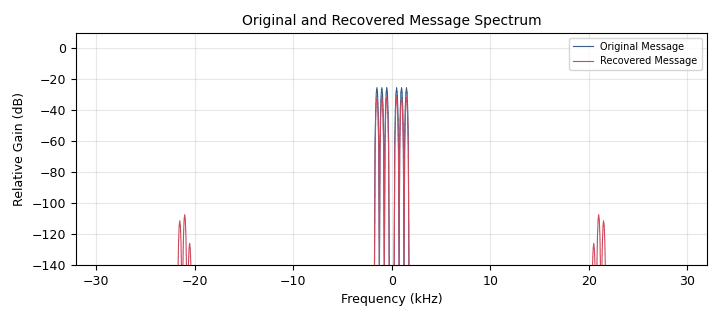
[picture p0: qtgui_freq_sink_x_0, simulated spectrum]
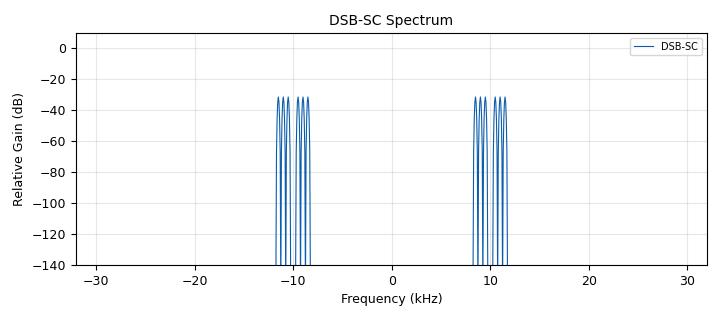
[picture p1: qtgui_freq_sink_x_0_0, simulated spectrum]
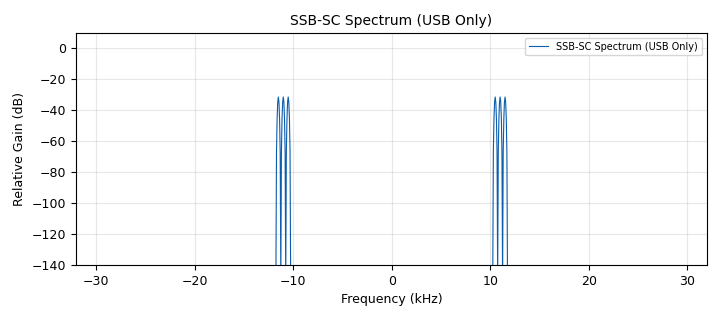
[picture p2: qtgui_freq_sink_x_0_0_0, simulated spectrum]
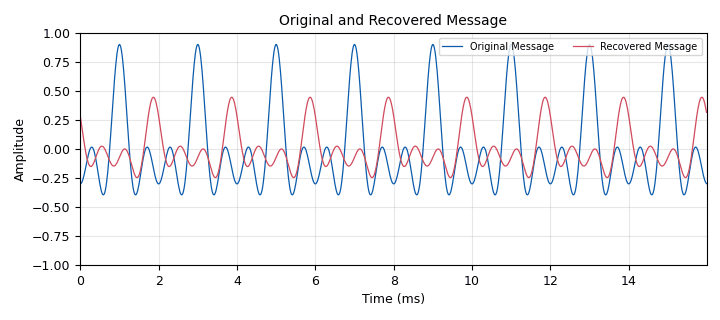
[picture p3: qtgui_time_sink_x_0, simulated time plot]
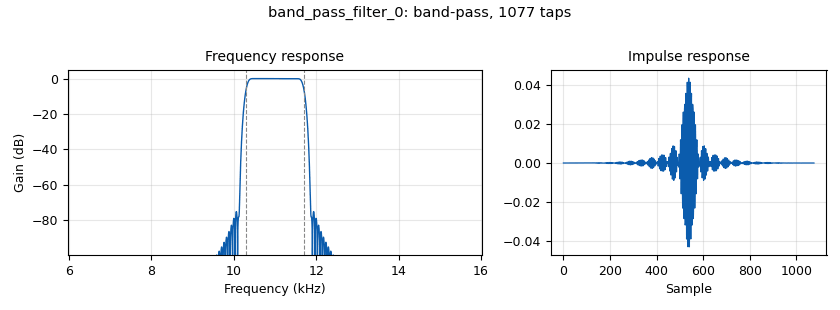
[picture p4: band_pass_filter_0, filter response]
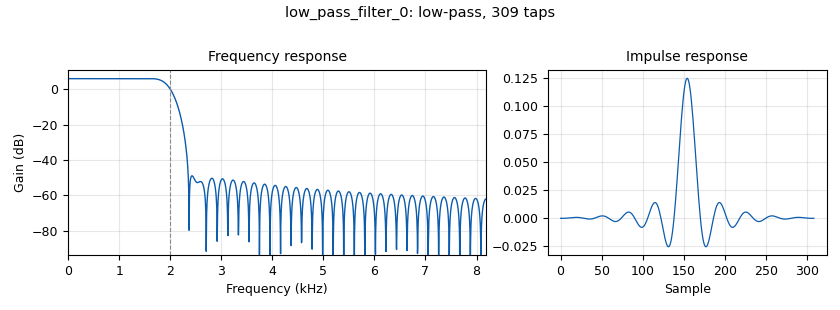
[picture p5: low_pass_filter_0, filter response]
options:
  parameters:
    author: Dhrubjun
    generate_options: qt_gui
    id: exp5
    output_language: python
    title: From DSB-SC to SSB-SC
  states: {}

blocks:
- name: carrier_freq
  id: variable
  parameters:
    value: '10000'
  states: {}
- name: samp_rate
  id: variable
  parameters:
    value: '64000'
  states: {}
- name: analog_sig_source_x_0
  id: analog_sig_source_x
  parameters:
    amp: '0.3'
    freq: '500'
    offset: '0'
    phase: '0'
    samp_rate: samp_rate
    type: float
    waveform: analog.GR_COS_WAVE
  states: {}
- name: analog_sig_source_x_0_0
  id: analog_sig_source_x
  parameters:
    amp: '1'
    freq: carrier_freq
    offset: '0'
    phase: '0'
    samp_rate: samp_rate
    type: float
    waveform: analog.GR_COS_WAVE
  states: {}
- name: analog_sig_source_x_0_1
  id: analog_sig_source_x
  parameters:
    amp: '0.3'
    freq: '1500'
    offset: '0'
    phase: '0'
    samp_rate: samp_rate
    type: float
    waveform: analog.GR_COS_WAVE
  states: {}
- name: analog_sig_source_x_0_2
  id: analog_sig_source_x
  parameters:
    amp: '0.3'
    freq: '1000'
    offset: '0'
    phase: '0'
    samp_rate: samp_rate
    type: float
    waveform: analog.GR_COS_WAVE
  states: {}
- name: band_pass_filter_0
  id: band_pass_filter
  parameters:
    decim: '1'
    gain: '1'
    high_cutoff_freq: '11700'
    low_cutoff_freq: '10300'
    samp_rate: samp_rate
    type: fir_filter_fff
    width: '200'
    win: window.WIN_BLACKMAN
  states: {}
- name: blocks_add_xx_0
  id: blocks_add_xx
  parameters:
    num_inputs: '3'
    type: float
  states: {}
- name: blocks_multiply_xx_0_0
  id: blocks_multiply_xx
  parameters:
    type: float
  states: {}
- name: blocks_multiply_xx_0_0_0
  id: blocks_multiply_xx
  parameters:
    type: float
  states: {}
- name: blocks_throttle2_0_0
  id: blocks_throttle2
  parameters:
    samples_per_second: samp_rate
    type: float
  states: {}
- name: low_pass_filter_0
  id: low_pass_filter
  parameters:
    cutoff_freq: '2000'
    decim: '1'
    gain: '2'
    samp_rate: samp_rate
    type: fir_filter_fff
    width: '500'
    win: window.WIN_HAMMING
  states: {}
- name: qtgui_freq_sink_x_0
  id: qtgui_freq_sink_x
  parameters:
    bw: samp_rate
    fc: '0'
    fftsize: '1024'
    gui_hint: (1,1,1,1)
    label1: Original Message
    label2: Recovered Message
    name: Original and Recovered Message Spectrum
    nconnections: '2'
    type: float
  states: {}
- name: qtgui_freq_sink_x_0_0
  id: qtgui_freq_sink_x
  parameters:
    bw: samp_rate
    fc: '0'
    fftsize: '1024'
    gui_hint: (0,0,1,1)
    label1: DSB-SC
    name: DSB-SC Spectrum
    type: float
  states: {}
- name: qtgui_freq_sink_x_0_0_0
  id: qtgui_freq_sink_x
  parameters:
    bw: samp_rate
    fc: '0'
    fftsize: '1024'
    gui_hint: (0,1,1,1)
    label1: SSB-SC Spectrum (USB Only)
    name: SSB-SC Spectrum (USB Only)
    type: float
  states: {}
- name: qtgui_time_sink_x_0
  id: qtgui_time_sink_x
  parameters:
    gui_hint: (1,0,1,1)
    label1: Original Message
    label2: Recovered Message
    name: Original and Recovered Message
    nconnections: '2'
    size: '1024'
    srate: samp_rate
    type: float
  states: {}

connections:
- [analog_sig_source_x_0, '0', blocks_add_xx_0, '0']
- [analog_sig_source_x_0_0, '0', blocks_multiply_xx_0_0, '1']
- [analog_sig_source_x_0_0, '0', blocks_multiply_xx_0_0_0, '1']
- [analog_sig_source_x_0_1, '0', blocks_add_xx_0, '2']
- [analog_sig_source_x_0_2, '0', blocks_add_xx_0, '1']
- [band_pass_filter_0, '0', blocks_multiply_xx_0_0_0, '0']
- [band_pass_filter_0, '0', qtgui_freq_sink_x_0_0_0, '0']
- [blocks_add_xx_0, '0', blocks_multiply_xx_0_0, '0']
- [blocks_add_xx_0, '0', qtgui_freq_sink_x_0, '0']
- [blocks_add_xx_0, '0', qtgui_time_sink_x_0, '0']
- [blocks_multiply_xx_0_0, '0', blocks_throttle2_0_0, '0']
- [blocks_multiply_xx_0_0_0, '0', low_pass_filter_0, '0']
- [blocks_throttle2_0_0, '0', band_pass_filter_0, '0']
- [blocks_throttle2_0_0, '0', qtgui_freq_sink_x_0_0, '0']
- [low_pass_filter_0, '0', qtgui_freq_sink_x_0, '1']
- [low_pass_filter_0, '0', qtgui_time_sink_x_0, '1']

metadata:
  file_format: 1
  grc_version: 3.10.12.0
